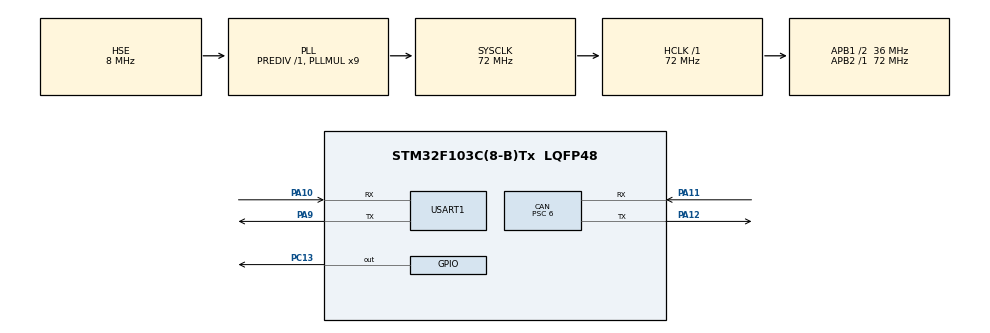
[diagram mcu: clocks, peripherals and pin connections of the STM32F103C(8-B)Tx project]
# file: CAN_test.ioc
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CAN.BS1=CAN_BS1_9TQ
CAN.BS2=CAN_BS2_4TQ
CAN.CalculateBaudRate=428571
CAN.CalculateTimeBit=2333
CAN.CalculateTimeQuantum=166.66666666666669
CAN.Mode=CAN_MODE_LOOPBACK
CAN.Prescaler=6
Dma.Request0=USART1_RX
Dma.Request1=USART1_TX
Dma.USART1_RX.0.Direction=DMA_PERIPH_TO_MEMORY
Dma.USART1_RX.0.Instance=DMA1_Channel5
Dma.USART1_RX.0.MemDataAlignment=DMA_MDATAALIGN_BYTE
Dma.USART1_RX.0.MemInc=DMA_MINC_ENABLE
Dma.USART1_RX.0.Mode=DMA_CIRCULAR
Dma.USART1_RX.0.PeriphDataAlignment=DMA_PDATAALIGN_BYTE
Dma.USART1_RX.0.PeriphInc=DMA_PINC_DISABLE
Dma.USART1_RX.0.Priority=DMA_PRIORITY_HIGH
Dma.USART1_TX.1.Direction=DMA_MEMORY_TO_PERIPH
Dma.USART1_TX.1.Instance=DMA1_Channel4
Dma.USART1_TX.1.MemDataAlignment=DMA_MDATAALIGN_BYTE
Dma.USART1_TX.1.MemInc=DMA_MINC_ENABLE
Dma.USART1_TX.1.Mode=DMA_NORMAL
Dma.USART1_TX.1.PeriphDataAlignment=DMA_PDATAALIGN_BYTE
Dma.USART1_TX.1.PeriphInc=DMA_PINC_DISABLE
Dma.USART1_TX.1.Priority=DMA_PRIORITY_LOW
Mcu.Family=STM32F1
Mcu.Name=STM32F103C(8-B)Tx
Mcu.Package=LQFP48
NVIC.DMA1_Channel4_IRQn=true\:0\:0\:false\:false\:true\:false\:true\:true
NVIC.DMA1_Channel5_IRQn=true\:0\:0\:false\:false\:true\:false\:true\:true
NVIC.PriorityGroup=NVIC_PRIORITYGROUP_4
NVIC.USART1_IRQn=true\:0\:0\:false\:false\:true\:true\:true\:true
NVIC.USB_LP_CAN1_RX0_IRQn=true\:0\:0\:false\:false\:true\:true\:true\:true
PA10.Mode=Asynchronous
PA10.Signal=USART1_RX
PA11.Mode=CAN_Activate
PA11.Signal=CAN_RX
PA12.Mode=CAN_Activate
PA12.Signal=CAN_TX
PA13.Mode=Serial_Wire
PA13.Signal=SYS_JTMS-SWDIO
PA14.Mode=Serial_Wire
PA14.Signal=SYS_JTCK-SWCLK
PA9.Mode=Asynchronous
PA9.Signal=USART1_TX
PC13-TAMPER-RTC.Signal=GPIO_Output
PC14-OSC32_IN.Mode=LSE-External-Oscillator
PC14-OSC32_IN.Signal=RCC_OSC32_IN
PC15-OSC32_OUT.Mode=LSE-External-Oscillator
PC15-OSC32_OUT.Signal=RCC_OSC32_OUT
PD0-OSC_IN.Mode=HSE-External-Oscillator
PD0-OSC_IN.Signal=RCC_OSC_IN
PD1-OSC_OUT.Mode=HSE-External-Oscillator
PD1-OSC_OUT.Signal=RCC_OSC_OUT
ProjectManager.HeapSize=0x200
ProjectManager.StackSize=0x400
ProjectManager.TargetToolchain=MDK-ARM V5.32
RCC.AHBFreq_Value=72000000
RCC.APB1CLKDivider=RCC_HCLK_DIV2
RCC.APB1Freq_Value=36000000
RCC.APB1TimFreq_Value=72000000
RCC.APB2Freq_Value=72000000
RCC.APB2TimFreq_Value=72000000
RCC.HCLKFreq_Value=72000000
RCC.PLLMUL=RCC_PLL_MUL9
RCC.PLLSourceVirtual=RCC_PLLSOURCE_HSE
RCC.SYSCLKFreq_VALUE=72000000
RCC.SYSCLKSource=RCC_SYSCLKSOURCE_PLLCLK
RCC.USBFreq_Value=72000000
USART1.VirtualMode=VM_ASYNC
board=custom

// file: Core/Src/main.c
/* USER CODE BEGIN Header */
/**
  ******************************************************************************
  * @file           : main.c
  * @brief          : Main program body
  ******************************************************************************
  * @attention
  *
  * Copyright (c) 2025 STMicroelectronics.
  * All rights reserved.
  *
  * This software is licensed under terms that can be found in the LICENSE file
  * in the root directory of this software component.
  * If no LICENSE file comes with this software, it is provided AS-IS.
  *
  ******************************************************************************
  */
/* USER CODE END Header */
#include "main.h"
#include "can.h"
#include "dma.h"
#include "usart.h"
#include "gpio.h"

/* USER CODE BEGIN Includes */

#include "string.h"

/* USER CODE END Includes */

/* USER CODE BEGIN PV */

CAN_TxHeaderTypeDef TxHeader;
CAN_RxHeaderTypeDef RxHeader;
uint8_t TxData[8];
uint8_t RxData[8] = {0x46};
uint32_t TxMailbox;
uint8_t RX_flag = 0;

char debugMsg[50];

/* USER CODE END PV */

void SystemClock_Config(void);
/* USER CODE BEGIN PFP */

void CAN_Config(void)
{
  CAN_FilterTypeDef canfilterconfig;

  // 配置CAN过滤器
  canfilterconfig.FilterBank = 0;
  canfilterconfig.FilterMode = CAN_FILTERMODE_IDMASK;
  canfilterconfig.FilterScale = CAN_FILTERSCALE_32BIT;
  canfilterconfig.FilterIdHigh = 0x0000;
  canfilterconfig.FilterIdLow = 0x0000;
  canfilterconfig.FilterMaskIdHigh = 0x0000;
  canfilterconfig.FilterMaskIdLow = 0x0000;
  canfilterconfig.FilterFIFOAssignment = CAN_RX_FIFO0;
  canfilterconfig.FilterActivation = ENABLE;
  canfilterconfig.SlaveStartFilterBank = 14;

  if (HAL_CAN_ConfigFilter(&hcan, &canfilterconfig) == HAL_OK)
  {
		HAL_UART_Transmit(&huart1, (uint8_t*)"FILTER_OK\n", 10, 1000);
  }

  // 启动CAN
  if (HAL_CAN_Start(&hcan) == HAL_OK)
  {
		HAL_UART_Transmit(&huart1, (uint8_t*)"CAN_OK\n", 7, 100);
  }
	if (HAL_CAN_ActivateNotification(&hcan, CAN_IT_RX_FIFO0_MSG_PENDING) == HAL_OK)
  {
		HAL_UART_Transmit(&huart1, (uint8_t*)"CALLBACK_OK\n", 12, 1000);
  }
}
void CAN_SendTestData(void)
{
  static uint8_t counter = 0;
  // 准备发送数据
  TxHeader.StdId = 0x123;            // 标准ID
  TxHeader.ExtId = 0x01;             // 扩展ID
  TxHeader.RTR = CAN_RTR_DATA;       // 数据帧
  TxHeader.IDE = CAN_ID_STD;         // 使用标准ID
  TxHeader.DLC = 8;                  // 数据长度8字节
  TxHeader.TransmitGlobalTime = DISABLE;
  // 填充数据
  for(int i = 0; i < 7; i++)
  {
    TxData[i] = counter + i;         // 填充递增数据
  }
  counter++;
	TxData[7] = 0x0a;
  // 发送数据
  if (HAL_CAN_AddTxMessage(&hcan, &TxHeader, TxData, &TxMailbox) == HAL_OK)
  {
		HAL_UART_Transmit(&huart1, (uint8_t*)"OK\n", 7, 1000);
  }
}

void HAL_CAN_RxFifo0MsgPendingCallback(CAN_HandleTypeDef *hcan)
{
	RX_flag = 1;
	HAL_CAN_GetRxMessage(hcan, CAN_RX_FIFO0, &RxHeader, RxData);
}

/* USER CODE END PFP */

int main(void)
{

  /* MCU Configuration--------------------------------------------------------*/

  /* Reset of all peripherals, Initializes the Flash interface and the Systick. */
  HAL_Init();

  /* Configure the system clock */
  SystemClock_Config();

  /* Initialize all configured peripherals */
  MX_GPIO_Init();
  MX_DMA_Init();
  MX_CAN_Init();
  MX_USART1_UART_Init();
  /* USER CODE BEGIN 2 */

	CAN_Config();
  /* USER CODE END 2 */
  /* Infinite loop */
  while (1)
  {

  // 发送测试数据
	CAN_SendTestData();

	// 接收数据
	if(RX_flag){
		HAL_UART_Transmit(&huart1, RxData, 8,1000);
	}
	HAL_Delay(500);
  }
}

void SystemClock_Config(void)
{
  RCC_OscInitTypeDef RCC_OscInitStruct = {0};
  RCC_ClkInitTypeDef RCC_ClkInitStruct = {0};

  /** Initializes the RCC Oscillators according to the specified parameters
  * in the RCC_OscInitTypeDef structure.
  */
  RCC_OscInitStruct.OscillatorType = RCC_OSCILLATORTYPE_HSE;
  RCC_OscInitStruct.HSEState = RCC_HSE_ON;
  RCC_OscInitStruct.HSEPredivValue = RCC_HSE_PREDIV_DIV1;
  RCC_OscInitStruct.HSIState = RCC_HSI_ON;
  RCC_OscInitStruct.PLL.PLLState = RCC_PLL_ON;
  RCC_OscInitStruct.PLL.PLLSource = RCC_PLLSOURCE_HSE;
  RCC_OscInitStruct.PLL.PLLMUL = RCC_PLL_MUL9;
  if (HAL_RCC_OscConfig(&RCC_OscInitStruct) != HAL_OK)
  {
    Error_Handler();
  }

  /** Initializes the CPU, AHB and APB buses clocks
  */
  RCC_ClkInitStruct.ClockType = RCC_CLOCKTYPE_HCLK|RCC_CLOCKTYPE_SYSCLK
                              |RCC_CLOCKTYPE_PCLK1|RCC_CLOCKTYPE_PCLK2;
  RCC_ClkInitStruct.SYSCLKSource = RCC_SYSCLKSOURCE_PLLCLK;
  RCC_ClkInitStruct.AHBCLKDivider = RCC_SYSCLK_DIV1;
  RCC_ClkInitStruct.APB1CLKDivider = RCC_HCLK_DIV2;
  RCC_ClkInitStruct.APB2CLKDivider = RCC_HCLK_DIV1;

  if (HAL_RCC_ClockConfig(&RCC_ClkInitStruct, FLASH_LATENCY_2) != HAL_OK)
  {
    Error_Handler();
  }
}

void Error_Handler(void)
{
  __disable_irq();
  while (1)
  {
  }
}
